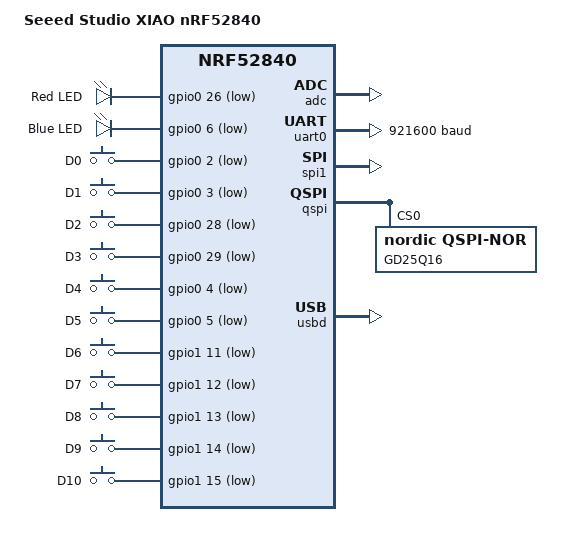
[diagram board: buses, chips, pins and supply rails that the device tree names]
/*
 * Copyright (c) 2020 Tobias Svehagen
 *
 * SPDX-License-Identifier: Apache-2.0
 */

/dts-v1/;
#include <nordic/nrf52840_qiaa.dtsi>
#include "seeed_xiao_nrf52840-pinctrl.dtsi"

/ {
	model = "Seeed Studio XIAO nRF52840";
	compatible = "seeed,xiao-nrf52840";

	chosen {
		zephyr,console = &uart0;
		zephyr,shell-uart = &uart0;
		zephyr,uart-mcumgr = &uart0;
		zephyr,bt-mon-uart = &uart0;
		zephyr,bt-c2h-uart = &uart0;
		zephyr,sram = &sram0;
		zephyr,flash = &flash0;
		zephyr,code-partition = &code_partition;
	};

	leds {
		compatible = "gpio-leds";
		led0: led_0 {
			gpios = <&gpio0 26 GPIO_ACTIVE_LOW>;
			label = "Red LED";
		};
		led1: led_1 {
			gpios = <&gpio0 6 GPIO_ACTIVE_LOW>;
			label = "Blue LED";
		};
//		expanderreset: expander_reset {
//			gpios = <&gpio1 13 GPIO_ACTIVE_LOW>;
//			label = "expander reset";
//		};
	};

	buttons {
		compatible = "gpio-keys";
		button0: button_0 { gpios = <&gpio0 2 (GPIO_PULL_UP | GPIO_ACTIVE_LOW)>; label = "D0"; };
		button1: button_1 { gpios = <&gpio0 3 (GPIO_PULL_UP | GPIO_ACTIVE_LOW)>; label = "D1"; };
		button2: button_2 { gpios = <&gpio0 28 (GPIO_PULL_UP | GPIO_ACTIVE_LOW)>; label = "D2"; };
		button3: button_3 { gpios = <&gpio0 29 (GPIO_PULL_UP | GPIO_ACTIVE_LOW)>; label = "D3"; };
		button4: button_5 { gpios = <&gpio0 4 (GPIO_PULL_UP | GPIO_ACTIVE_LOW)>; label = "D4"; };
		button5: button_5 { gpios = <&gpio0 5 (GPIO_PULL_UP | GPIO_ACTIVE_LOW)>; label = "D5"; };
		button6: button_6 { gpios = <&gpio1 11 (GPIO_PULL_UP | GPIO_ACTIVE_LOW)>; label = "D6"; };
		button6: button_7 { gpios = <&gpio1 12 (GPIO_PULL_UP | GPIO_ACTIVE_LOW)>; label = "D7"; };
		button6: button_8 { gpios = <&gpio1 13 (GPIO_PULL_UP | GPIO_ACTIVE_LOW)>; label = "D8"; };
		button6: button_9 { gpios = <&gpio1 14 (GPIO_PULL_UP | GPIO_ACTIVE_LOW)>; label = "D9"; };
		button6: button_10 { gpios = <&gpio1 15 (GPIO_PULL_UP | GPIO_ACTIVE_LOW)>; label = "D10"; };

	};

	/* These aliases are provided for compatibility with samples */
	aliases {
		led0 = &led0;
		led1 = &led1;
		sw0 = &button0;
//		expanderreset = &expanderreset;
	};
};

&adc {
	status = "okay";
};

&gpiote {
	status = "okay";
};

&gpio0 {
	status = "okay";
	sense-edge-mask = < 0xffffffff >;
};

&gpio1 {
	status = "okay";
	sense-edge-mask = < 0xffffffff >;
};

&uart0 {
	compatible = "nordic,nrf-uart";
	current-speed = <921600>;
	status = "okay";
	pinctrl-0 = <&uart0_default>;
	pinctrl-1 = <&uart0_sleep>;
	pinctrl-names = "default", "sleep";
};

//&i2c0 {
//	compatible = "nordic,nrf-twi";
//	status = "okay";
//	pinctrl-0 = <&i2c0_default>;
//	pinctrl-1 = <&i2c0_sleep>;
//	pinctrl-names = "default", "sleep";

//	expander1: mcp230xx@20 {
//		compatible = "microchip,mcp230xx";
//		reg = <0x20>;
//		gpio-controller;
//		#gpio-cells = <2>;
//		ngpios = <16>;
///*		int-gpios = <&gpio1 13 0>; */
//		reset-gpios = <&gpio1 13 GPIO_ACTIVE_LOW>;
//	};

};

&spi1 {
	compatible = "nordic,nrf-spi";
	status = "okay";
	pinctrl-0 = <&spi1_default>;
	pinctrl-1 = <&spi1_sleep>;
	pinctrl-names = "default", "sleep";
};

&qspi {
	status = "okay";
	pinctrl-0 = <&qspi_default>;
	pinctrl-1 = <&qspi_sleep>;
	pinctrl-names = "default", "sleep";
	gd25q16: gd25q16@0 {
		compatible = "nordic,qspi-nor";
		reg = <0>;
		writeoc = "pp4o";
		readoc = "read4io";
		sck-frequency = <16000000>;
		label = "GD25Q16";
		jedec-id = [c8 40 15];
		size = <16777216>;
		has-dpd;
		t-enter-dpd = <20000>;
		t-exit-dpd = <20000>;
		quad-enable-requirements = "S2B1v1";
	};
};

&flash0 {

	partitions {
		compatible = "fixed-partitions";
		#address-cells = <1>;
		#size-cells = <1>;

		sd_partition: partition@0 {
			label = "softdevice";
			reg = <0x00000000 0x00027000>;
		};

		code_partition: partition@27000 {
			label = "code_partition";
			reg = <0x00027000 0x000c5000>;
		};

		storage_partition: partition@ec000 {
			label = "storage";
			reg = <0x000ec000 0x00008000>;
		};

		boot_partition: partition@f4000 {
			label = "adafruit_boot";
			reg = <0x000f4000 0x0000c000>;
		};
	};
};

zephyr_udc0: &usbd {
	compatible = "nordic,nrf-usbd";
	status = "okay";
};

//edits by lingwendil@gmail.com
